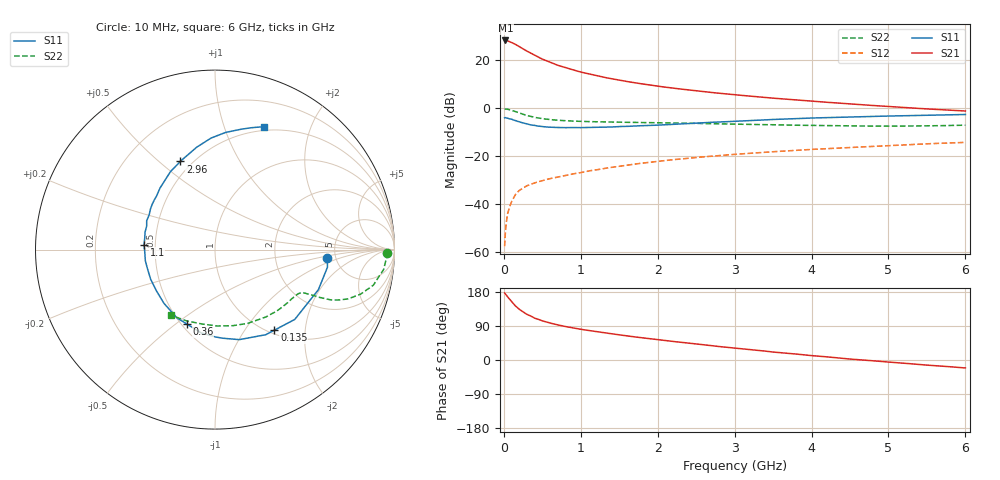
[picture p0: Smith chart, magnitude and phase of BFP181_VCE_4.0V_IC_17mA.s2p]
! (c) 2016  Infineon Technologies AG, Munich
! Infineon Technologies  Discrete & RF Semiconductors
! BFP181
! VCE = 4.0 V,  IC =  17 mA
! Common Emitter S-Parameters:  Jan 2016
# GHz  S  MA  R  50
!  f  S11  S21  S12  S22
! GHz  MAG  ANG  MAG  ANG  MAG  ANG  MAG  ANG
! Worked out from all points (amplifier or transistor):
!   210 points, 10 MHz to 6 GHz, reference 50 ohm
!   highest |S21| = 28.3 dB at 20 MHz (marker M1)
!   |S21| within 3 dB of that: start of sweep to 223.9 MHz
!   unconditionally stable (mu >= 1): 740.7 MHz to end of sweep
!   at 185 MHz: K = 0.39, MSG = 30.5 dB, |S12| = -34.9 dB
!   at 1.52 GHz: K = 1.22, MAG = 15.0 dB, |S12| = -24.2 dB
!   at 6 GHz: K = 1.01, MAG = 6.0 dB, |S12| = -14.3 dB
!   S11 on the Smith chart (normalised r, x): 10 MHz: 4.26, -0.66; 135 MHz: 1.06, -1.38; 360 MHz: 0.53, -0.55; 1.1 GHz: 0.43, +0.03; 2.96 GHz: 0.43, +0.59; 6 GHz: 0.46, +1.37
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0.01  0.6273 -4.3  25.96 176.9  0.0013 76.4  0.9597 -1.0
0.02  0.6343 -8.9  26 174.5  0.0025 83.4  0.9573 -2.5
0.05  0.6178 -21.2  25.52 166.3  0.0063 85.2  0.9461 -6.7
0.1  0.5906 -41.2  23.67 154.0  0.011 70.6  0.904 -12.7
0.135  0.5577 -53.6  22.13 146.4  0.0141 66.2  0.8636 -15.7
0.15  0.5521 -59.2  21.6 142.8  0.0155 64.8  0.847 -17.1
0.2  0.5195 -74.9  19.48 133.9  0.019 62.4  0.7908 -20.3
0.26  0.4861 -90.0  16.95 125.3  0.0219 57.3  0.7338 -22.5
0.36  0.443 -110.9  13.81 115.0  0.0259 54.4  0.6655 -24.1
0.4  0.4357 -119.0  12.72 110.5  0.0273 53.8  0.6411 -24.6
0.5  0.4129 -133.5  10.59 103.3  0.0305 52.7  0.6017 -25.0
0.6  0.3993 -144.6  9.12 97.5  0.0336 52.6  0.5759 -25.5
0.8  0.3912 -163.8  7.022 88.3  0.0389 53.5  0.5458 -26.1
1.02  0.392 -179.2  5.582 80.4  0.0456 54.2  0.5272 -27.7
1.1  0.3964 176.3  5.211 77.8  0.0486 54.3  0.5228 -28.3
1.5  0.4131 157.1  3.843 66.3  0.0612 54.5  0.5078 -32.7
2.02  0.4421 137.3  2.849 53.4  0.0779 52.5  0.4939 -39.8
2.96  0.5276 111.4  1.933 32.2  0.1067 46.5  0.4642 -55.6
3.1  0.5398 108.2  1.843 29.6  0.1108 45.4  0.4591 -58.2
4.1  0.6275 90.6  1.363 10.0  0.1396 37.7  0.4321 -79.1
5.1  0.6881 77.4  1.056 -7.0  0.1668 30.3  0.4207 -102.6
6  0.7368 68.3  0.871 -21.0  0.1924 22.7  0.4403 -123.9
